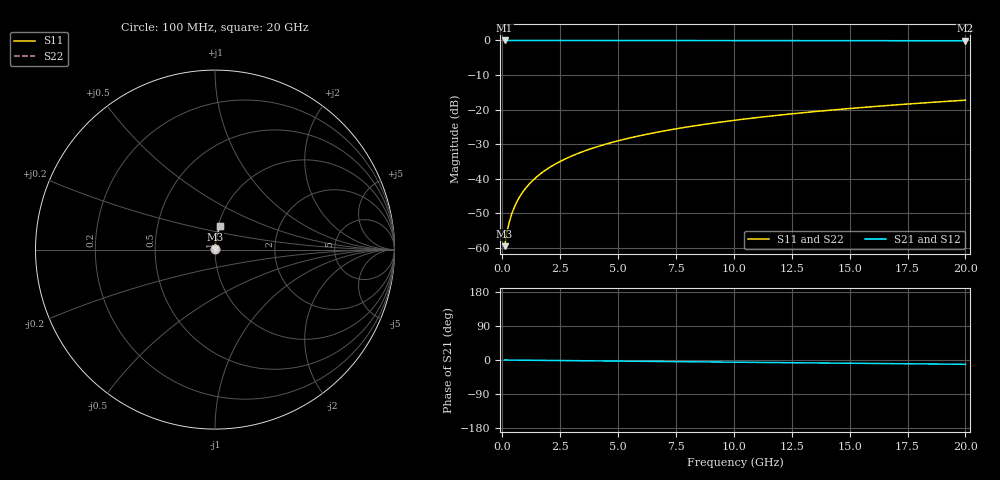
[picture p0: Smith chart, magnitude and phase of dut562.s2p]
! Touchstone file exported from HFSS 2026.1.0
!  File:  C:/ffzhzh/LocalFiles/Ansys_Project_Files/temp_train_BSMRDL_562_1783015360_46388.aedt
!  Generated:  02:03:56 AM Jul  3, 2026
!  Design:  BSMRDL
!  Project:  temp_train_BSMRDL_562_1783015360_46388
! Variables:
!  h_bsmrdl = 3.71um
!  h_ox = 20um
!  h_rdl = 5um
!  h_sub = 80um
!  h_tmrdl = 5um
!  h_tsv = 80um
!  h_via = 3um
!  l_bsmrdl = 106.33um
!  l_sub = 506.33um
!  l_tmrdl = 200um
!  m_sub = 200um
!  pitch = 52.94um
!  r_tsv = 6um
!  s_tmrdl = 10um
!  w_bsmrdl = 18.32um
!  w_sub = 500um
!  w_tmrdl = 12um
!  x_tsv_center1 = 206um
!  x_tsv_center2 = 330.65um
!  x_tsv_center3 = 542.65um
!  x_tsv_center4 = 667.3um
!  x_tsv_center5 = 879.3um
!  x_tsv_center6 = 1003.95um
# GHz S MA R 50.000000
! Terminal data exported
! Port[1] = BSM_RDL1_1_T1
! Port[2] = BSM_RDL1_1_T2
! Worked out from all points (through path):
!   200 points, 100 MHz to 20 GHz, reference 50 ohm
!   highest |S21| = -0.01 dB at 100 MHz (marker M1); lowest = -0.1 dB at 20 GHz (marker M2)
!   group delay of S21, straight-line fit = 1.57 ps
!   lowest |S11| = -59.5 dB at 100 MHz (marker M3), VSWR 1.00, Z = 50.1 + j0.0751 ohm
!   |S11| at or under -10 dB: start of sweep to end of sweep
!   |S22| runs from -59.5 to -17.3 dB; largest |S21 - S12| = 2.3e-15
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0.1  0.001062 44.9  0.9992 -0.1  0.9992 -0.1  0.001062 44.9
! Gamma 0 0 0 0
! Port Impedance 50 0 50 0
0.2  0.00168 62.4  0.9992 -0.1  0.9992 -0.1  0.00168 62.4
0.3  0.002358 70.0  0.9992 -0.2  0.9992 -0.2  0.002358 70.0
0.4  0.003048 74.1  0.9992 -0.2  0.9992 -0.2  0.003048 74.1
0.5  0.003742 76.6  0.9991 -0.3  0.9991 -0.3  0.003742 76.6
0.7  0.005137 79.8  0.9991 -0.4  0.9991 -0.4  0.005137 79.8
0.8  0.005837 80.8  0.9991 -0.5  0.9991 -0.5  0.005837 80.8
1  0.007241 82.2  0.9991 -0.6  0.9991 -0.6  0.007241 82.2
1.2  0.008649 83.2  0.999 -0.7  0.999 -0.7  0.008649 83.2
1.4  0.01006 83.8  0.999 -0.8  0.999 -0.8  0.01006 83.8
1.7  0.01218 84.5  0.999 -1.0  0.999 -1.0  0.01218 84.5
2  0.0143 84.9  0.9989 -1.2  0.9989 -1.2  0.0143 84.9
2.7  0.01925 85.3  0.9988 -1.6  0.9988 -1.6  0.01925 85.3
3.5  0.02489 85.3  0.9985 -2.0  0.9985 -2.0  0.02489 85.3
4.2  0.02981 85.2  0.9983 -2.4  0.9983 -2.4  0.02981 85.2
5  0.03542 84.9  0.998 -2.9  0.998 -2.9  0.03542 84.9
6.8  0.04794 84.1  0.9972 -3.9  0.9972 -3.9  0.04794 84.1
8.3  0.05828 83.4  0.9965 -4.8  0.9965 -4.8  0.05828 83.4
10.1  0.07061 82.5  0.9954 -5.8  0.9954 -5.8  0.07061 82.5
13.4  0.09298 80.8  0.9932 -7.7  0.9932 -7.7  0.09298 80.8
16.7  0.1151 79.1  0.9906 -9.5  0.9906 -9.5  0.1151 79.1
20  0.1369 77.4  0.9875 -11.3  0.9875 -11.3  0.1369 77.4
